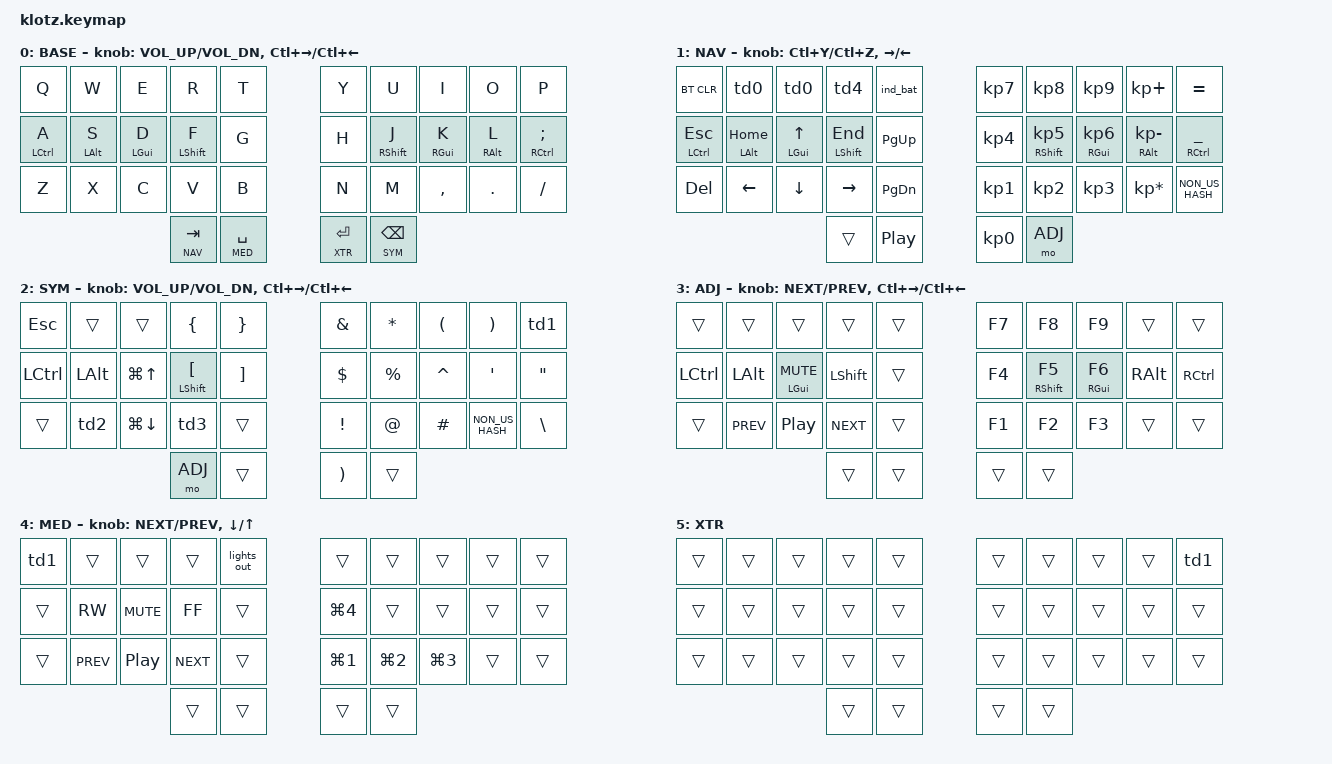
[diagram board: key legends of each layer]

//                                      █         ██        ▄▀▀▀▀▀▀▀▀▀▀█▀▀▀▀▀▀▀▀█▀▀▀▀▀▀▀▀▀▀█
//                                      █        █ █      ▄▀            ▀▄      █         █
//                                      █       █  █    ▄▀                ▀▄    █        █
//                                      █      █   █   █                    █   █       █
//                                      █     █    █   █                    █   █      █
//                                      █    █     █   █                    █   █  ▀▀▀█▀▀▀▀
//                                      █   █ █    █   █                    █   █    █
//                                      █  █   █   █   █                    █   █   █
//                                      █ █     █  █    ▀▄                ▄▀    █  █
//                                      ██       █ █      ▀▄            ▄▀      █ █
//                                      █         ██▄▄▄▄▄▄▄▄█▄▄▄▄▄▄▄▄▄▄▀        ██▄▄▄▄▄▄▄▄▄▄
//
// ▄▄▄▄▄▄▄▄▄▄▄▄▄▄▄▄▄▄▄▄▄▄▄▄▄▄▄▄▄▄▄▄▄▄▄▄▄▄▄▄▄▄▄▄▄▄▄▄▄▄▄▄▄▄▄▄▄▄▄▄▄▄▄▄▄▄▄▄▄▄▄▄▄▄▄▄▄▄▄▄▄▄▄▄▄▄▄▄▄▄▄▄▄▄▄▄▄▄▄▄▄▄▄▄▄▄▄▄▄▄▄▄▄▄▄▄▄▄▄▄▄▄▄▄▄
       

#include <behaviors.dtsi>
#include <dt-bindings/zmk/keys.h>
#include <dt-bindings/zmk/bt.h>
#include <dt-bindings/zmk/outputs.h>
#include <dt-bindings/zmk/backlight.h>
#include <behaviors/rgbled_widget.dtsi>

#define BASE 0
#define NAV  1
#define SYM  2
#define ADJ  3
#define MED  4
#define XTR  5

&mt {
  quick-tap-ms = <100>;
  global-quick-tap;
  flavor = "tap-preferred";
  tapping-term-ms = <170>;
  require-prior-idle-ms = <200>;
};

&soft_off {
    hold-time-ms = <500>;
};

/ {
    macros {
        lights_out: lights_out {
            compatible = "zmk,behavior-macro";
            #binding-cells = <0>;
            bindings
                = <&macro_tap &bl BL_SET 10>
                , <&macro_wait_time 500>
                , <&macro_press &soft_off>
                , <&macro_pause_for_release>
                , <&macro_release &soft_off>
            ;
        };
    };
};

/ {
    combos {
        compatible = "zmk,combos";
        combo_off {
            timeout-ms = <50>;
            key-positions = <0 20>;
            bindings = <&lights_out>;
        };
    };
};

/ {
    behaviors {
        td0: tap_dance_0 {
            compatible = "zmk,behavior-tap-dance";
            label = "TAP_DANCE_0";
            #binding-cells = <0>;
            tapping-term-ms = <300>;
            bindings = <&bt BT_SEL 0>, <&bt BT_SEL 1>, <&bt BT_SEL 2>, <&bt BT_SEL 3>, <&bt BT_SEL 4>;
        };
        td1: tap_dance_1 {
            compatible = "zmk,behavior-tap-dance";
            label = "TAP_DANCE_1";
            #binding-cells = <0>;
            tapping-term-ms = <300>;
            bindings = <&sys_reset>, <&bootloader>;
        };
        td2: tap_dance_2 {
            compatible = "zmk,behavior-tap-dance";
            label = "TAP_DANCE_2";
            #binding-cells = <0>;
            tapping-term-ms = <300>;
            bindings = <&kp LG(LEFT)>, <&kp LS(LG(LEFT))>;
        };
        td3: tap_dance_3 {
            compatible = "zmk,behavior-tap-dance";
            label = "TAP_DANCE_3";
            #binding-cells = <0>;
            tapping-term-ms = <300>;
            bindings = <&kp LG(RIGHT)>, <&kp LS(LG(RIGHT))>;
        };
        td4: tap_dance_4 {
            compatible = "zmk,behavior-tap-dance";
            label = "TAP_DANCE_4";
            #binding-cells = <0>;
            tapping-term-ms = <300>;
            bindings = <&bl BL_SET 10>, <&bl BL_CYCLE>, <&bl BL_OFF>;
        };
    };
    keymap {
                compatible = "zmk,keymap";
// ▄▄▄▄▄▄▄▄▄▄▄▄▄▄▄▄▄▄▄▄▄▄▄▄▄▄▄▄▄▄▄▄▄▄▄▄▄▄▄▄▄▄▄▄▄▄▄▄▄▄▄▄▄▄▄▄▄▄▄▄▄▄▄▄▄▄▄▄▄▄▄▄▄▄▄▄▄▄▄▄▄▄▄▄▄▄▄▄▄▄▄▄▄▄▄▄▄▄▄▄▄▄▄▄▄▄▄▄▄▄▄▄▄▄▄▄▄▄▄▄▄▄▄▄▄


                base_layer {
// ┏━━━━━━━━━━━━━━━━━━━━━━━━━━━━━━━━━━━━━━━┓
label= "BASE"                              ;
// ┗━━━━━━━━━━━━━━━━━━━━━━━━━━━━━━━━━━━━━━━┛
// ┏━━━━━━━━━━━┳━━━━━━━━━━━┳━━━━━━━━━━━┳━━━━━━━━━━━┳━━━━━━━━━━━┓   ┏━━━━━━━━━━━┳━━━━━━━━━━━┳━━━━━━━━━━━┳━━━━━━━━━━━┳━━━━━━━━━━━┓
// ┃     Q     ┃     W     ┃     E     ┃     R     ┃     T     ┃   ┃     Y     ┃     U     ┃     I     ┃     O     ┃     P     ┃
// ┣━━━━━━━━━━━╋━━━━━━━━━━━╋━━━━━━━━━━━╋━━━━━━━━━━━╋━━━━━━━━━━━┫   ┣━━━━━━━━━━━╋━━━━━━━━━━━╋━━━━━━━━━━━╋━━━━━━━━━━━╋━━━━━━━━━━━┫
// ┃     A     ┃     S     ┃     D     ┃     F     ┃     G     ┃   ┃     H     ┃     J     ┃     K     ┃     L     ┃     ;     ┃
// ┣━━━━━━━━━━━╋━━━━━━━━━━━╋━━━━━━━━━━━╋━━━━━━━━━━━╋━━━━━━━━━━━┫   ┣━━━━━━━━━━━╋━━━━━━━━━━━╋━━━━━━━━━━━╋━━━━━━━━━━━╋━━━━━━━━━━━┫
// ┃     Z     ┃     X     ┃     C     ┃     V     ┃     B     ┃   ┃     N     ┃     M     ┃     ,     ┃     .     ┃     /     ┃
// ┗━━━━━━━━━━━┻━━━━━━━━━━━┻━━━━━━━━━━━╋━━━━━━━━━━━╋━━━━━━━━━━━┫   ┣━━━━━━━━━━━╋━━━━━━━━━━━╋━━━━━━━━━━━┻━━━━━━━━━━━┻━━━━━━━━━━━┛
//                                     ┃    TAB    ┃    SPC    ┃   ┃   ENTER   ┃   BSPC    ┃
//                                     ┗━━━━━━━━━━━┻━━━━━━━━━━━┛   ┗━━━━━━━━━━━┻━━━━━━━━━━━┛
 bindings = <
// ╷           ╷           ╷           ╷           ╷           ╷   ╷           ╷           ╷           ╷           ╷           ╷

    &kp Q       &kp W       &kp E       &kp R       &kp T           &kp Y        &kp U       &kp I       &kp O       &kp P
    &mt LCTRL A &mt LALT S  &mt LGUI D  &mt LSHFT F &kp G           &kp H        &mt RSHFT J &mt RGUI K  &mt RALT L  &mt RCTRL SEMI
    &kp Z       &kp X       &kp C       &kp V       &kp B           &kp N        &kp M       &kp COMMA   &kp DOT     &kp FSLH
                                        &lt NAV TAB &lt MED SPACE   &lt XTR RET  &lt SYM BSPC    
                        >;
            sensor-bindings = <&inc_dec_kp C_VOL_UP C_VOL_DN &inc_dec_kp LC(RIGHT) LC(LEFT)>;
                };

// ▄▄▄▄▄▄▄▄▄▄▄▄▄▄▄▄▄▄▄▄▄▄▄▄▄▄▄▄▄▄▄▄▄▄▄▄▄▄▄▄▄▄▄▄▄▄▄▄▄▄▄▄▄▄▄▄▄▄▄▄▄▄▄▄▄▄▄▄▄▄▄▄▄▄▄▄▄▄▄▄▄▄▄▄▄▄▄▄▄▄▄▄▄▄▄▄▄▄▄▄▄▄▄▄▄▄▄▄▄▄▄▄▄▄▄▄▄▄▄▄▄▄▄▄▄


                nav_layer {
// ┏━━━━━━━━━━━━━━━━━━━━━━━━━━━━━━━━━━━━━━━┓
label= "NAV"                              ;
// ┗━━━━━━━━━━━━━━━━━━━━━━━━━━━━━━━━━━━━━━━┛
// ┏━━━━━━━━━━━┳━━━━━━━━━━━┳━━━━━━━━━━━┳━━━━━━━━━━━┳━━━━━━━━━━━┓   ┏━━━━━━━━━━━┳━━━━━━━━━━━┳━━━━━━━━━━━┳━━━━━━━━━━━┳━━━━━━━━━━━┓
// ┃   BT CLR  ┃  BT TAP   ┃           ┃  LED TAP  ┃    BATT   ┃   ┃     7     ┃     8     ┃     9     ┃     +     ┃     =     ┃
// ┣━━━━━━━━━━━╋━━━━━━━━━━━╋━━━━━━━━━━━╋━━━━━━━━━━━╋━━━━━━━━━━━┫   ┣━━━━━━━━━━━╋━━━━━━━━━━━╋━━━━━━━━━━━╋━━━━━━━━━━━╋━━━━━━━━━━━┫
// ┃    ESC    ┃   HOME    ┃    UP     ┃    END    ┃   PG UP   ┃   ┃     4     ┃     5     ┃     6     ┃     -     ┃     _     ┃
// ┣━━━━━━━━━━━╋━━━━━━━━━━━╋━━━━━━━━━━━╋━━━━━━━━━━━╋━━━━━━━━━━━┫   ┣━━━━━━━━━━━╋━━━━━━━━━━━╋━━━━━━━━━━━╋━━━━━━━━━━━╋━━━━━━━━━━━┫
// ┃    DEL    ┃   LEFT    ┃   DOWN    ┃   RIGHT   ┃  PG DOWN  ┃   ┃     1     ┃     2     ┃     3     ┃     *     ┃     #     ┃
// ┗━━━━━━━━━━━┻━━━━━━━━━━━┻━━━━━━━━━━━╋━━━━━━━━━━━╋━━━━━━━━━━━┫   ┣━━━━━━━━━━━╋━━━━━━━━━━━╋━━━━━━━━━━━┻━━━━━━━━━━━┻━━━━━━━━━━━┛
//                                     ┃           ┃PLAY/PAUSE ┃   ┃    0      ┃     ADJ   ┃  
//                                     ┗━━━━━━━━━━━┻━━━━━━━━━━━┛   ┗━━━━━━━━━━━┻━━━━━━━━━━━┛
 bindings = <
// ╷            ╷            ╷           ╷            ╷           ╷    ╷           ╷           ╷           ╷               ╷              ╷

    &bt BT_CLR     &td0          &td0        &td4          &ind_bat         &kp KP_N7   &kp KP_N8       &kp KP_N9      &kp KP_PLUS       &kp EQUAL
    &mt LCTRL ESC  &mt LALT HOME &mt LGUI UP &mt LSHFT END &kp PG_UP        &kp KP_N4   &mt RSHFT KP_N5 &mt RGUI KP_N6 &mt RALT KP_MINUS &mt RCTRL UNDER
    &kp DEL        &kp LEFT      &kp DOWN    &kp RIGHT     &kp PG_DN        &kp KP_N1   &kp KP_N2       &kp KP_N3      &kp KP_MULTIPLY   &kp NON_US_HASH
                                             &trans        &kp C_PP         &kp KP_N0   &mo ADJ     
                        >;
            sensor-bindings = <&inc_dec_kp LC(Y) LC(Z) &inc_dec_kp RIGHT LEFT>;
                };

// ▄▄▄▄▄▄▄▄▄▄▄▄▄▄▄▄▄▄▄▄▄▄▄▄▄▄▄▄▄▄▄▄▄▄▄▄▄▄▄▄▄▄▄▄▄▄▄▄▄▄▄▄▄▄▄▄▄▄▄▄▄▄▄▄▄▄▄▄▄▄▄▄▄▄▄▄▄▄▄▄▄▄▄▄▄▄▄▄▄▄▄▄▄▄▄▄▄▄▄▄▄▄▄▄▄▄▄▄▄▄▄▄▄▄▄▄▄▄▄▄▄▄▄▄▄


                sym_layer {
// ┏━━━━━━━━━━━━━━━━━━━━━━━━━━━━━━━━━━━━━━━┓
label= "SYM"                               ;
// ┗━━━━━━━━━━━━━━━━━━━━━━━━━━━━━━━━━━━━━━━┛
// ┏━━━━━━━━━━━┳━━━━━━━━━━━┳━━━━━━━━━━━┳━━━━━━━━━━━┳━━━━━━━━━━━┓   ┏━━━━━━━━━━━┳━━━━━━━━━━━┳━━━━━━━━━━━┳━━━━━━━━━━━┳━━━━━━━━━━━┓
// ┃    ESC    ┃           ┃           ┃     {     ┃     }     ┃   ┃     &     ┃     *     ┃     (     ┃     )     ┃ RESET TAP ┃
// ┣━━━━━━━━━━━╋━━━━━━━━━━━╋━━━━━━━━━━━╋━━━━━━━━━━━╋━━━━━━━━━━━┫   ┣━━━━━━━━━━━╋━━━━━━━━━━━╋━━━━━━━━━━━╋━━━━━━━━━━━╋━━━━━━━━━━━┫
// ┃           ┃           ┃ SCREEN UP ┃     [     ┃     ]     ┃   ┃     $     ┃     %     ┃      ^    ┃     '     ┃     "     ┃
// ┣━━━━━━━━━━━╋━━━━━━━━━━━╋━━━━━━━━━━━╋━━━━━━━━━━━╋━━━━━━━━━━━┫   ┣━━━━━━━━━━━╋━━━━━━━━━━━╋━━━━━━━━━━━╋━━━━━━━━━━━╋━━━━━━━━━━━┫
// ┃           ┃ LEFT TAP  ┃ SCREEN DN ┃ RIGHT TAP ┃           ┃   ┃     !     ┃     @     ┃      £    ┃     #     ┃     \     ┃
// ┗━━━━━━━━━━━┻━━━━━━━━━━━┻━━━━━━━━━━━╋━━━━━━━━━━━╋━━━━━━━━━━━┫   ┣━━━━━━━━━━━╋━━━━━━━━━━━╋━━━━━━━━━━━┻━━━━━━━━━━━┻━━━━━━━━━━━┛
//                                     ┃   ADJUST  ┃           ┃   ┃     )     ┃           ┃   
//                                     ┗━━━━━━━━━━━┻━━━━━━━━━━━┛   ┗━━━━━━━━━━━┻━━━━━━━━━━━┛
 bindings = <
// ╷           ╷           ╷           ╷           ╷           ╷   ╷           ╷           ╷           ╷           ╷           ╷

   &kp ESC     &trans      &trans       &kp LBRC        &kp RBRC        &kp AMPS    &kp STAR    &kp LPAR    &kp RPAR        &td1      
   &kp LCTRL   &kp LALT    &kp LG(UP)   &mt LSHFT LBKT  &kp RBKT        &kp DLLR    &kp PRCNT   &kp CARET   &kp SQT         &kp DQT 
   &trans      &td2        &kp LG(DOWN) &td3            &trans          &kp EXCL    &kp AT      &kp HASH    &kp NON_US_HASH &kp BSLH      
                                        &mo ADJ         &trans          &kp RPAR    &trans
                        >;
                sensor-bindings = <&inc_dec_kp C_VOL_UP C_VOL_DN &inc_dec_kp LC(RIGHT) LC(LEFT)>;
                };

// ▄▄▄▄▄▄▄▄▄▄▄▄▄▄▄▄▄▄▄▄▄▄▄▄▄▄▄▄▄▄▄▄▄▄▄▄▄▄▄▄▄▄▄▄▄▄▄▄▄▄▄▄▄▄▄▄▄▄▄▄▄▄▄▄▄▄▄▄▄▄▄▄▄▄▄▄▄▄▄▄▄▄▄▄▄▄▄▄▄▄▄▄▄▄▄▄▄▄▄▄▄▄▄▄▄▄▄▄▄▄▄▄▄▄▄▄▄▄▄▄▄▄▄▄▄


                adjust_layer {
// ┏━━━━━━━━━━━━━━━━━━━━━━━━━━━━━━━━━━━━━━━┓
label= "ADJ"                               ;
// ┗━━━━━━━━━━━━━━━━━━━━━━━━━━━━━━━━━━━━━━━┛
// ┏━━━━━━━━━━━┳━━━━━━━━━━━┳━━━━━━━━━━━┳━━━━━━━━━━━┳━━━━━━━━━━━┓   ┏━━━━━━━━━━━┳━━━━━━━━━━━┳━━━━━━━━━━━┳━━━━━━━━━━━┳━━━━━━━━━━━┓
// ┃           ┃           ┃           ┃           ┃           ┃   ┃    F7     ┃    F8     ┃    F9     ┃           ┃           ┃
// ┣━━━━━━━━━━━╋━━━━━━━━━━━╋━━━━━━━━━━━╋━━━━━━━━━━━╋━━━━━━━━━━━┫   ┣━━━━━━━━━━━╋━━━━━━━━━━━╋━━━━━━━━━━━╋━━━━━━━━━━━╋━━━━━━━━━━━┫
// ┃           ┃           ┃   MUTE    ┃           ┃           ┃   ┃    F4     ┃    F5     ┃    F6     ┃           ┃           ┃
// ┣━━━━━━━━━━━╋━━━━━━━━━━━╋━━━━━━━━━━━╋━━━━━━━━━━━╋━━━━━━━━━━━┫   ┣━━━━━━━━━━━╋━━━━━━━━━━━╋━━━━━━━━━━━╋━━━━━━━━━━━╋━━━━━━━━━━━┫
// ┃           ┃  PREVIOUS ┃ PLAYPAUSE ┃   NEXT    ┃           ┃   ┃    F1     ┃    F2     ┃    F3     ┃           ┃           ┃
// ┗━━━━━━━━━━━┻━━━━━━━━━━━┻━━━━━━━━━━━╋━━━━━━━━━━━╋━━━━━━━━━━━┫   ┣━━━━━━━━━━━╋━━━━━━━━━━━╋━━━━━━━━━━━┻━━━━━━━━━━━┻━━━━━━━━━━━┛
//                                     ┃           ┃           ┃   ┃           ┃           ┃
//                                     ┗━━━━━━━━━━━┻━━━━━━━━━━━┛   ┗━━━━━━━━━━━┻━━━━━━━━━━━┛
 bindings = <
// ╷            ╷          ╷          ╷          ╷           ╷   ╷           ╷           ╷           ╷           ╷           ╷

    &trans      &trans     &trans          &trans      &trans          &kp F7   &kp F8        &kp F9       &trans     &trans
    &kp LCTRL   &kp LALT   &mt LGUI C_MUTE &kp LSHFT   &trans          &kp F4   &mt RSHFT F5  &mt RGUI F6  &kp RALT   &kp RCTRL
    &trans      &kp C_PREV &kp C_PP        &kp C_NEXT  &trans          &kp F1   &kp F2        &kp F3       &trans     &trans     
                                           &trans      &trans          &trans   &trans
                        >;
            sensor-bindings = <&inc_dec_kp C_NEXT C_PREV &inc_dec_kp LC(RIGHT) LC(LEFT)>;
                };

// ▄▄▄▄▄▄▄▄▄▄▄▄▄▄▄▄▄▄▄▄▄▄▄▄▄▄▄▄▄▄▄▄▄▄▄▄▄▄▄▄▄▄▄▄▄▄▄▄▄▄▄▄▄▄▄▄▄▄▄▄▄▄▄▄▄▄▄▄▄▄▄▄▄▄▄▄▄▄▄▄▄▄▄▄▄▄▄▄▄▄▄▄▄▄▄▄▄▄▄▄▄▄▄▄▄▄▄▄▄▄▄▄▄▄▄▄▄▄▄▄▄▄▄▄▄



                media_layer {
// ┏━━━━━━━━━━━━━━━━━━━━━━━━━━━━━━━━━━━━━━━┓
label= "MED"                               ;
// ┗━━━━━━━━━━━━━━━━━━━━━━━━━━━━━━━━━━━━━━━┛
// ┏━━━━━━━━━━━┳━━━━━━━━━━━┳━━━━━━━━━━━┳━━━━━━━━━━━┳━━━━━━━━━━━┓   ┏━━━━━━━━━━━┳━━━━━━━━━━━┳━━━━━━━━━━━┳━━━━━━━━━━━┳━━━━━━━━━━━┓
// ┃ RESET TAP ┃           ┃           ┃           ┃ Soft Off  ┃   ┃           ┃           ┃           ┃           ┃           ┃
// ┣━━━━━━━━━━━╋━━━━━━━━━━━╋━━━━━━━━━━━╋━━━━━━━━━━━╋━━━━━━━━━━━┫   ┣━━━━━━━━━━━╋━━━━━━━━━━━╋━━━━━━━━━━━╋━━━━━━━━━━━╋━━━━━━━━━━━┫
// ┃           ┃  REWIND   ┃   MUTE    ┃ F FORWARD ┃           ┃   ┃           ┃           ┃           ┃           ┃           ┃
// ┣━━━━━━━━━━━╋━━━━━━━━━━━╋━━━━━━━━━━━╋━━━━━━━━━━━╋━━━━━━━━━━━┫   ┣━━━━━━━━━━━╋━━━━━━━━━━━╋━━━━━━━━━━━╋━━━━━━━━━━━╋━━━━━━━━━━━┫
// ┃           ┃  PREVIOUS ┃ PLAYPAUSE ┃   NEXT    ┃           ┃   ┃           ┃           ┃           ┃           ┃           ┃
// ┗━━━━━━━━━━━┻━━━━━━━━━━━┻━━━━━━━━━━━╋━━━━━━━━━━━╋━━━━━━━━━━━┫   ┣━━━━━━━━━━━╋━━━━━━━━━━━╋━━━━━━━━━━━┻━━━━━━━━━━━┻━━━━━━━━━━━┛
//                                     ┃           ┃           ┃   ┃           ┃           ┃
//                                     ┗━━━━━━━━━━━┻━━━━━━━━━━━┛   ┗━━━━━━━━━━━┻━━━━━━━━━━━┛
 bindings = <
// ╷           ╷          ╷          ╷          ╷           ╷   ╷          ╷           ╷           ╷           ╷           ╷

    &td1       &trans     &trans     &trans     &lights_out     &trans     &trans      &trans      &trans       &trans
    &trans     &kp C_RW   &kp C_MUTE &kp C_FF   &trans          &kp LG(N4) &trans      &trans      &trans       &trans
    &trans     &kp C_PREV &kp C_PP   &kp C_NEXT &trans          &kp LG(N1) &kp LG(N2)  &kp LG(N3)      &trans       &trans     
                                     &trans     &trans          &trans     &trans
                        >;
            sensor-bindings = <&inc_dec_kp C_NEXT C_PREV &inc_dec_kp DOWN UP>;
                };

// ▄▄▄▄▄▄▄▄▄▄▄▄▄▄▄▄▄▄▄▄▄▄▄▄▄▄▄▄▄▄▄▄▄▄▄▄▄▄▄▄▄▄▄▄▄▄▄▄▄▄▄▄▄▄▄▄▄▄▄▄▄▄▄▄▄▄▄▄▄▄▄▄▄▄▄▄▄▄▄▄▄▄▄▄▄▄▄▄▄▄▄▄▄▄▄▄▄▄▄▄▄▄▄▄▄▄▄▄▄▄▄▄▄▄▄▄▄▄▄▄▄▄▄▄▄


                extra_layer {
// ┏━━━━━━━━━━━━━━━━━━━━━━━━━━━━━━━━━━━━━━━┓
label= "XTR"                               ;
// ┗━━━━━━━━━━━━━━━━━━━━━━━━━━━━━━━━━━━━━━━┛
// ┏━━━━━━━━━━━┳━━━━━━━━━━━┳━━━━━━━━━━━┳━━━━━━━━━━━┳━━━━━━━━━━━┓   ┏━━━━━━━━━━━┳━━━━━━━━━━━┳━━━━━━━━━━━┳━━━━━━━━━━━┳━━━━━━━━━━━┓
// ┃           ┃           ┃           ┃           ┃           ┃   ┃           ┃           ┃           ┃           ┃ Reset Tap ┃
// ┣━━━━━━━━━━━╋━━━━━━━━━━━╋━━━━━━━━━━━╋━━━━━━━━━━━╋━━━━━━━━━━━┫   ┣━━━━━━━━━━━╋━━━━━━━━━━━╋━━━━━━━━━━━╋━━━━━━━━━━━╋━━━━━━━━━━━┫
// ┃           ┃           ┃           ┃           ┃           ┃   ┃           ┃           ┃           ┃           ┃           ┃
// ┣━━━━━━━━━━━╋━━━━━━━━━━━╋━━━━━━━━━━━╋━━━━━━━━━━━╋━━━━━━━━━━━┫   ┣━━━━━━━━━━━╋━━━━━━━━━━━╋━━━━━━━━━━━╋━━━━━━━━━━━╋━━━━━━━━━━━┫
// ┃           ┃           ┃           ┃           ┃           ┃   ┃           ┃           ┃           ┃           ┃           ┃
// ┗━━━━━━━━━━━┻━━━━━━━━━━━┻━━━━━━━━━━━╋━━━━━━━━━━━╋━━━━━━━━━━━┫   ┣━━━━━━━━━━━╋━━━━━━━━━━━╋━━━━━━━━━━━┻━━━━━━━━━━━┻━━━━━━━━━━━┛
//                                     ┃           ┃           ┃   ┃           ┃           ┃
//                                     ┗━━━━━━━━━━━┻━━━━━━━━━━━┛   ┗━━━━━━━━━━━┻━━━━━━━━━━━┛
 bindings = <
//  ╷           ╷           ╷           ╷           ╷           ╷   ╷          ╷           ╷           ╷           ╷           ╷

    &trans      &trans      &trans      &trans      &trans          &trans     &trans      &trans      &trans      &td1
    &trans      &trans      &trans      &trans      &trans          &trans     &trans      &trans      &trans      &trans
    &trans      &trans      &trans      &trans      &trans          &trans     &trans      &trans      &trans      &trans
                                        &trans      &trans          &trans     &trans
                          >;
                };
        };
};
